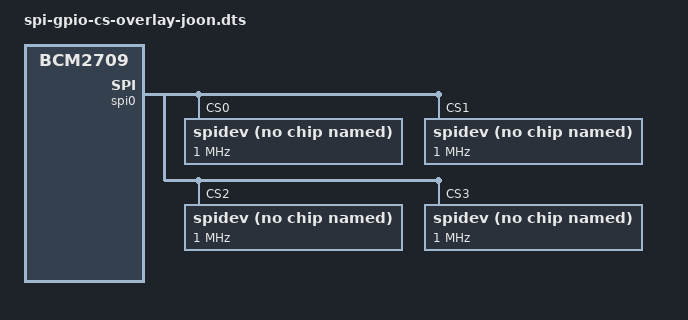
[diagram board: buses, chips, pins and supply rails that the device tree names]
/dts-v1/;
/plugin/;

/ {
	compatible = "brcm,bcm2835", "brcm,bcm2836", "brcm,bcm2708", "brcm,bcm2709";

	fragment@0 {
		target = <&spi0>;
		frag0: __overlay__ {
			#address-cells = <1>;
			#size-cells = <0>;
			pinctrl-0 = <&spi0_pins &spi0_cs_pins>;
			status = "okay";
			cs-gpios = <0xe 0x8 0x1 0xe 0x7 0x1 0xe 0xc 0x1 0xe 0x10 0x1>;

			spidev@0{
				compatible = "spidev";
				reg = <0>;	/* CE0 */
				spi-max-frequency = <1000000>;
			};

			spidev@1{
				compatible = "spidev";
				reg = <1>;	/* CE1 */
				spi-max-frequency = <1000000>;
			};

			spidev@2{
				compatible = "spidev";
				reg = <2>;	/* CE2 */
				#address-cells = <1>;
				#size-cells = <0>;
				spi-max-frequency = <1000000>;
			};

			spidev@3{
				compatible = "spidev";
				reg = <3>;	/* CE3 */
				#address-cells = <1>;
				#size-cells = <0>;
				spi-max-frequency = <1000000>;
			};
		};
	};

	fragment@1 {
		target = <&gpio>;
		__overlay__ {
			spi0_cs_pins: spi0_cs_pins {
				brcm,pins = <8 7 12 16>;
				brcm,function = <1>; /* out */
			};
		};
	};

//	__overrides__ {
//		cs2_pin = <&frag0>,"cs-gpios:12", <&spi0_cs_pins>,"brcm,pins:0";
//		cs3_pin = <&frag0>,"cs-gpios:24", <&spi0_cs_pins>,"brcm,pins:4";
//	};
};
